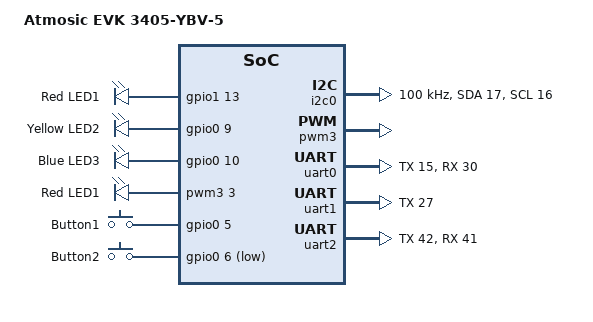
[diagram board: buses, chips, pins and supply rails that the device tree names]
/*
 * Copyright (c) 2025 Atmosic
 *
 * SPDX-License-Identifier: Apache-2.0
 */

/dts-v1/;
#include <arm/atmosic/ATM34xx.dtsi>
#include <dt-bindings/gpio/gpio.h>

/ {
	model = "Atmosic EVK 3405-YBV-5";
	compatible = "atmosic,ATMEVK-3405-YBV-5";

	chosen {
		zephyr,console = &uart1;
		zephyr,shell-uart = &uart1;
		zephyr,uart-mcumgr = &uart0;
		zephyr,bt-mon-uart = &uart1;
		zephyr,sram = &sram0;
		zephyr,flash-controller = &rram_controller;
		zephyr,flash = &rram0;
		zephyr,code-partition = &spe_partition;
		zephyr,entropy = &trng;
	};

	leds {
		compatible = "gpio-leds";
		led0: led_0 {
			gpios = <&gpio1 13 GPIO_ACTIVE_HIGH>;
			label = "Red LED1";
		};
		led1: led_1 {
			gpios = <&gpio0 9 GPIO_ACTIVE_HIGH>;
			label = "Yellow LED2";
		};
		led2: led_2 {
			gpios = <&gpio0 10 GPIO_ACTIVE_HIGH>;
			label = "Blue LED3";
		};
	};

        pwmleds {
                compatible = "pwm-leds";
                pwm_led0: pwm_led_0 {
                        pwms = <&pwm3 3 PWM_MSEC(1) PWM_POLARITY_NORMAL>;
			label = "Red LED1";
                };
        };

	buttons {
		compatible = "gpio-keys";
		button0: button_0 {
			gpios = <&gpio0 5 GPIO_ACTIVE_HIGH>;
			label = "Button1";
		};
		button1: button_1 {
			gpios = <&gpio0 6 GPIO_ACTIVE_LOW>;
			label = "Button2";
		};
	};

	/* These aliases are provided for compatibility with samples */
	aliases {
		i2c-1 = &i2c0;
		led0 = &led0;
		pwm-0 = &pwm3;
		pwm-led0 = &pwm_led0;
		sw0 = &button0;
	};
};

&flash_controller {
	clk-pin = <35>;
	csn-pin = <31>;
	d0-pin = <34>;
	d1-pin = <32>;
	d2-pin = <33>;
	d3-pin = <36>;
};

&i2c0 {
        sda-pin = <17>;
        scl-pin = <16>;
	clock-frequency = <I2C_BITRATE_STANDARD>;
};

&pwm3 {
	pin = <29>;
	status = "okay";
};

&adc {
	ch-cell = <1>;
	ch-batt = <11>;
};

&uart0 {
	rx-pin = <30>;
	tx-pin = <15>;
	rts-pin = <13>;
	cts-pin = <12>;
};

&uart1 {
	tx-pin = <27>;
};

&uart2 {
	rx-pin = <41>;
	tx-pin = <42>;
	rts-pin = <44>;
	cts-pin = <43>;
};

&pmu {
	vddpa-src = <1>;
};

arduino_i2c: &i2c0 {};
